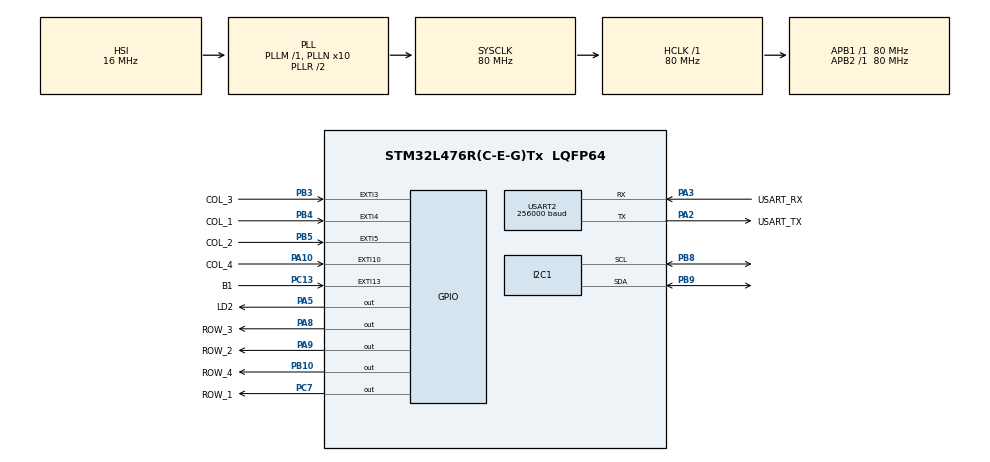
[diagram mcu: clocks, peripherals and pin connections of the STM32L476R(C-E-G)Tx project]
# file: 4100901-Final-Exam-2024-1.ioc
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I2C1.Timing=0x10909CEC
Mcu.Family=STM32L4
Mcu.Name=STM32L476R(C-E-G)Tx
Mcu.Package=LQFP64
NVIC.EXTI15_10_IRQn=true\:0\:0\:false\:false\:true\:true\:true\:true
NVIC.EXTI3_IRQn=true\:0\:0\:false\:false\:true\:true\:true\:true
NVIC.EXTI4_IRQn=true\:0\:0\:false\:false\:true\:true\:true\:true
NVIC.EXTI9_5_IRQn=true\:0\:0\:false\:false\:true\:true\:true\:true
NVIC.PriorityGroup=NVIC_PRIORITYGROUP_4
NVIC.USART2_IRQn=true\:0\:0\:false\:false\:true\:true\:true\:true
PA10.GPIO_Label=COL_4
PA10.GPIO_ModeDefaultEXTI=GPIO_MODE_IT_RISING
PA10.GPIO_PuPd=GPIO_PULLDOWN
PA10.Signal=GPXTI10
PA13\ (JTMS-SWDIO).GPIO_Label=TMS
PA13\ (JTMS-SWDIO).Mode=Serial_Wire
PA13\ (JTMS-SWDIO).Signal=SYS_JTMS-SWDIO
PA14\ (JTCK-SWCLK).GPIO_Label=TCK
PA14\ (JTCK-SWCLK).Mode=Serial_Wire
PA14\ (JTCK-SWCLK).Signal=SYS_JTCK-SWCLK
PA2.GPIO_Label=USART_TX
PA2.GPIO_Mode=GPIO_MODE_AF_PP
PA2.GPIO_PuPd=GPIO_NOPULL
PA2.GPIO_Speed=GPIO_SPEED_FREQ_VERY_HIGH
PA2.Mode=Asynchronous
PA2.Signal=USART2_TX
PA3.GPIO_Label=USART_RX
PA3.GPIO_Mode=GPIO_MODE_AF_PP
PA3.GPIO_PuPd=GPIO_NOPULL
PA3.GPIO_Speed=GPIO_SPEED_FREQ_VERY_HIGH
PA3.Mode=Asynchronous
PA3.Signal=USART2_RX
PA5.GPIO_Label=LD2 
PA5.GPIO_ModeDefaultOutputPP=GPIO_MODE_OUTPUT_PP
PA5.GPIO_PuPd=GPIO_NOPULL
PA5.GPIO_Speed=GPIO_SPEED_FREQ_LOW
PA5.Signal=GPIO_Output
PA8.GPIO_Label=ROW_3
PA8.GPIO_Speed=GPIO_SPEED_FREQ_VERY_HIGH
PA8.PinState=GPIO_PIN_SET
PA8.Signal=GPIO_Output
PA9.GPIO_Label=ROW_2
PA9.GPIO_Speed=GPIO_SPEED_FREQ_VERY_HIGH
PA9.PinState=GPIO_PIN_SET
PA9.Signal=GPIO_Output
PB10.GPIO_Label=ROW_4
PB10.GPIO_Speed=GPIO_SPEED_FREQ_VERY_HIGH
PB10.PinState=GPIO_PIN_SET
PB10.Signal=GPIO_Output
PB3\ (JTDO-TRACESWO).GPIO_Label=COL_3
PB3\ (JTDO-TRACESWO).GPIO_ModeDefaultEXTI=GPIO_MODE_IT_RISING
PB3\ (JTDO-TRACESWO).GPIO_PuPd=GPIO_PULLDOWN
PB3\ (JTDO-TRACESWO).Signal=GPXTI3
PB4\ (NJTRST).GPIO_Label=COL_1
PB4\ (NJTRST).GPIO_ModeDefaultEXTI=GPIO_MODE_IT_RISING
PB4\ (NJTRST).GPIO_PuPd=GPIO_PULLDOWN
PB4\ (NJTRST).Signal=GPXTI4
PB5.GPIO_Label=COL_2
PB5.GPIO_ModeDefaultEXTI=GPIO_MODE_IT_RISING
PB5.GPIO_PuPd=GPIO_PULLDOWN
PB5.Signal=GPXTI5
PB8.Mode=I2C
PB8.Signal=I2C1_SCL
PB9.Mode=I2C
PB9.Signal=I2C1_SDA
PC13.GPIO_Label=B1
PC13.GPIO_ModeDefaultEXTI=GPIO_MODE_IT_FALLING
PC13.GPIO_PuPd=GPIO_NOPULL
PC13.Signal=GPXTI13
PC14-OSC32_IN\ (PC14).Mode=LSE-External-Oscillator
PC14-OSC32_IN\ (PC14).Signal=RCC_OSC32_IN
PC15-OSC32_OUT\ (PC15).Mode=LSE-External-Oscillator
PC15-OSC32_OUT\ (PC15).Signal=RCC_OSC32_OUT
PC7.GPIO_Label=ROW_1
PC7.GPIO_Speed=GPIO_SPEED_FREQ_VERY_HIGH
PC7.PinState=GPIO_PIN_SET
PC7.Signal=GPIO_Output
PH0-OSC_IN\ (PH0).Signal=RCC_OSC_IN
PH1-OSC_OUT\ (PH1).Signal=RCC_OSC_OUT
ProjectManager.HeapSize=0x200
ProjectManager.StackSize=0x400
ProjectManager.TargetToolchain=STM32CubeIDE
RCC.ADCFreq_Value=64000000
RCC.AHBFreq_Value=80000000
RCC.APB1Freq_Value=80000000
RCC.APB1TimFreq_Value=80000000
RCC.APB2Freq_Value=80000000
RCC.APB2TimFreq_Value=80000000
RCC.CortexFreq_Value=80000000
RCC.HCLKFreq_Value=80000000
RCC.HSE_VALUE=8000000
RCC.HSI_VALUE=16000000
RCC.MSI_VALUE=4000000
RCC.PLLN=10
RCC.PLLSourceVirtual=RCC_PLLSOURCE_HSI
RCC.PREFETCH_ENABLE=1
RCC.SYSCLKFreq_VALUE=80000000
RCC.SYSCLKSource=RCC_SYSCLKSOURCE_PLLCLK
RCC.USBFreq_Value=64000000
RCC.VCOOutputFreq_Value=160000000
USART2.BaudRate=256000
USART2.VirtualMode-Asynchronous=VM_ASYNC
board=NUCLEO-L476RG

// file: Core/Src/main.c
/* USER CODE BEGIN Header */
/**
  ******************************************************************************
  * @file           : main.c
  * @brief          : Main program body
  ******************************************************************************
  * @attention
  *
  * Copyright (c) 2024 STMicroelectronics.
  * All rights reserved.
  *
  * This software is licensed under terms that can be found in the LICENSE file
  * in the root directory of this software component.
  * If no LICENSE file comes with this software, it is provided AS-IS.
  *
  ******************************************************************************
  */
/* USER CODE END Header */
#include "main.h"

/* USER CODE BEGIN Includes */

#include <stdio.h>

#include "led_estatus.h"
#include "keypad.h"
#include "ring_buffer.h"
#include "val_clave.h"

/* USER CODE END Includes */

I2C_HandleTypeDef hi2c1;

UART_HandleTypeDef huart2;

/* USER CODE BEGIN PV */
uint8_t valor_usart = 0;
uint8_t tamano_aritmetica = 0;
uint8_t valor_hexadecimal_0 = 0;
uint8_t valor_hexadecimal_1 = 0;
uint8_t valor_hexadecimal_2 = 0;
uint8_t valor_hexadecimal_3 = 0;
uint8_t valor_hexadecimal = 0;
char buffer_uart[7];  // 6 dígitos + terminador nulo
uint8_t resultado_suma = 0;
uint8_t presion_boton = 0;

uint8_t var_control = 0;
uint32_t tiempo_led = 0;
flag_enum presion_teclado = NO_PRESION;
uint16_t tecla_presionada;
uint8_t clave[TAM_CLAVE];
ring_buffer_t ring_clave;
ring_buffer_t ring_aritmetica;
uint8_t buffer_pantalla[TAM_CLAVE];
uint8_t validacion_clave = 30;
uint8_t pantalla_x = 20;
uint8_t pantalla_y = 10;
uint8_t ultimos_digitos[4];
/* USER CODE END PV */

void SystemClock_Config(void);
static void MX_GPIO_Init(void);
static void MX_USART2_UART_Init(void);
static void MX_I2C1_Init(void);
/* USER CODE BEGIN PFP */

void recibir_valor_uart(void) {
    HAL_UART_Receive(&huart2, (uint8_t*)buffer_uart, 6, HAL_MAX_DELAY);
    buffer_uart[6] = '\0';  // Asegurar que el string esté correctamente terminado
    printf("Valor recibido por UART: %s\r\n", buffer_uart);
}
void reset_uart_buffer(void) {
    for (int i = 0; i < 6; i++) {
        buffer_uart[i] = '\0';  // Reinicia todos los valores del buffer
    }
    printf("Buffer UART reseteado\r\n");
}

/* USER CODE END PFP */

/* USER CODE BEGIN 0 */
//int _write(int file, char *ptr, int len)
//{
//  // to using printf
//  HAL_UART_Transmit(&huart2, (uint8_t *)ptr, len, 10);
//  return len;
//}

void HAL_GPIO_EXTI_Callback(uint16_t GPIO_Pin)
{
	uint8_t key_pressed = keypad_scan(GPIO_Pin);
	if (key_pressed != 0xFF) { //Aquí evitamos el rebote y modificamos las variables necesarias
		printf("Se presionó: %c\r\n", key_pressed);
		tecla_presionada = key_pressed;
		presion_teclado = PRESION;
		return;
	}
	if(GPIO_Pin == B1_Pin){ //Realizamos la condición para cuando se genere la interrupción por el botón azul
							//se sumen los dos valores
		resultado_suma = valor_hexadecimal + valor_usart;
		presion_boton = 1;
	}

}
/* USER CODE END 0 */

int main(void)
{

  /* MCU Configuration--------------------------------------------------------*/

  /* Reset of all peripherals, Initializes the Flash interface and the Systick. */
  HAL_Init();

  /* Configure the system clock */
  SystemClock_Config();

  /* Initialize all configured peripherals */
  MX_GPIO_Init();
  MX_USART2_UART_Init();
  MX_I2C1_Init();
  /* USER CODE BEGIN 2 */
//  if (resultado_suma % 2 == 0) {
//      HAL_GPIO_WritePin(SYSTEM_LED_GPIO_Port, SYSTEM_LED_Pin, GPIO_PIN_RESET);  // Encender LED
//  } else {
//      HAL_GPIO_WritePin(SYSTEM_LED_GPIO_Port, SYSTEM_LED_Pin, GPIO_PIN_SET);  // Apagar LED
//  }
//
  //
//  ring_buffer_init(&ring_clave, clave, TAM_CLAVE);
//  ssd1306_Init();
//ssd1306_Fill(Black);
//ssd1306_SetCursor(30, 30);
//ssd1306_WriteString("Welcome!", Font_7x10, White);
//ssd1306_UpdateScreen();
  /* USER CODE END 2 */

  /* Infinite loop */
  /* USER CODE BEGIN WHILE */
  printf("Starting...\r\n");
  while (1)
  {
    /* USER CODE END WHILE */

    /* USER CODE BEGIN 3 */
	  valor_usart = recibir_valor_uart();

//Vamos a realizar el condicional para que el teclado reciba hasta 4 digitos
	  if(presion_teclado == PRESION && tecla_presionada != '#' && tecla_presionada != '*' && tecla_presionada != 'A' && tecla_presionada != 'B'&& tecla_presionada != 'C'&& tecla_presionada != 'D' ){
		  presion_teclado = NO_PRESION;
		  ring_buffer_write(&ring_aritmetica, tecla_presionada);
		  tamano_aritmetica = ring_buffer_size(&ring_aritmetica);

		  for(uint8_t i = 0; i < tamano_aritmetica ; i++){
			  ultimo_digito[i] = tecla_presionada;
		  }
		  valor_hexadecimal_0 = ultimo_digito[0] * 1000 ;//Multiplicamos cada valor por el número correspondiente
		  valor_hexadecimal_1 = ultimo_digito[1] * 100 ; //dependiendo de la posición de cada uno
		  valor_hexadecimal_2 = ultimo_digito[2] * 10 ;
		  valor_hexadecimal_3 = ultimo_digito[3] * 1 ;
		  valor_hexadecimal = valor_hexadecimal_0 + valor_hexadecimal_1 + valor_hexadecimal_2 + valor_hexadecimal_3;
//		  buffer_pantalla[var_control] = tecla_presionada;
//		  var_control ++;

	  } else if(presion_teclado == PRESION && tecla_presionada == '*'){
		  presion_teclado = NO_PRESION;
//		  ring_buffer_reset(&ring_aritmetica);

		  valor_hexadecimal = 0;

//		  for(uint8_t i = 0; i <= var_control; i++ ){
//			  buffer_pantalla[i] = 0;
//		  }
//		  memset(&buffer_pantalla, 0, TAM_CLAVE);
//		  var_control = 0;
//
//		  ssd1306_Fill(Black);
//		  ssd1306_UpdateScreen();

	  } else if(presion_teclado == PRESION && tecla_presionada == '#'){ //Vamos a utilizar la tecla "#" para indicar
		  presion_teclado = NO_PRESION;

		  reset_usart_buffer(valor_usart);
		  //que se envíe los datos
//		  validacion_clave = validar_clave(&ring_aritmetica);
//		  ring_buffer_reset(&ring_clave);
//		  printf("Validacion: %d\r\n", validacion_clave);

	  }

	  //Creamos los condicionales para cuando se presione el numeral, encienda 3000 ms el led (diferentes Frec.)
//	  if(tecla_presionada == '#'){
//		  tiempo_led = HAL_GetTick() + 3000;
//		  tecla_presionada = 0xFF;
//	  }
//	  if( HAL_GetTick() < tiempo_led){
//		  estatus_hz(validacion_clave); //Utilizamos la función estatus_hz de la librería "led_estatus"
//	  }else{  	  	  	  	 //que sirve para indicar la frencuencia de encendido del led.
//		  HAL_GPIO_WritePin(SYSTEM_LED_GPIO_Port, SYSTEM_LED_Pin, 1);
//	  }
	  if(presion_boton == 1){ //Realizamos el condicional para cuando se presione el botón azul, se imprima en
		  ssd1306_Fill(Black);//la pantalla y también en el PC
		  ssd1306_SetCursor(20, 10);
		  ssd1306_WriteString(&resultado_suma, Font_7x10, White);
		  ssd1306_UpdateScreen();
		  presion_boton = 0;
		  printf("Se presionó: %d\r\n", resultado_suma);
	  }

	         // Chequeo de paridad y control del LED
	         if (resultado_suma % 2 == 0) {
	             HAL_GPIO_WritePin(SYSTEM_LED_GPIO_Port, SYSTEM_LED_Pin, GPIO_PIN_RESET);  // Encender LED
	         } else {
	             HAL_GPIO_WritePin(SYSTEM_LED_GPIO_Port, SYSTEM_LED_Pin, GPIO_PIN_SET);  // Apagar LED
	         }
	     }

	     //Condicionales para cuando se presione el numeral, encienda 3000 ms el led (diferentes Frec.)
//	     if (tecla_presionada == '#'){
//	         tiempo_led = HAL_GetTick() + 3000;
//	         tecla_presionada = 0xFF;
//	     }
//	     if (HAL_GetTick() < tiempo_led){
//	         estatus_hz(validacion_clave); //Utilizamos la función estatus_hz de la librería "led_estatus"
//	     } else {  	  	  	  	  	 //que sirve para indicar la frencuencia de encendido del led.
//	         HAL_GPIO_WritePin(SYSTEM_LED_GPIO_Port, SYSTEM_LED_Pin, 1);
//	     }
	 }

  }

  /* USER CODE END 3 */
}

void SystemClock_Config(void)
{
  RCC_OscInitTypeDef RCC_OscInitStruct = {0};
  RCC_ClkInitTypeDef RCC_ClkInitStruct = {0};

  /** Configure the main internal regulator output voltage
  */
  if (HAL_PWREx_ControlVoltageScaling(PWR_REGULATOR_VOLTAGE_SCALE1) != HAL_OK)
  {
    Error_Handler();
  }

  /** Initializes the RCC Oscillators according to the specified parameters
  * in the RCC_OscInitTypeDef structure.
  */
  RCC_OscInitStruct.OscillatorType = RCC_OSCILLATORTYPE_HSI;
  RCC_OscInitStruct.HSIState = RCC_HSI_ON;
  RCC_OscInitStruct.HSICalibrationValue = RCC_HSICALIBRATION_DEFAULT;
  RCC_OscInitStruct.PLL.PLLState = RCC_PLL_ON;
  RCC_OscInitStruct.PLL.PLLSource = RCC_PLLSOURCE_HSI;
  RCC_OscInitStruct.PLL.PLLM = 1;
  RCC_OscInitStruct.PLL.PLLN = 10;
  RCC_OscInitStruct.PLL.PLLP = RCC_PLLP_DIV7;
  RCC_OscInitStruct.PLL.PLLQ = RCC_PLLQ_DIV2;
  RCC_OscInitStruct.PLL.PLLR = RCC_PLLR_DIV2;
  if (HAL_RCC_OscConfig(&RCC_OscInitStruct) != HAL_OK)
  {
    Error_Handler();
  }

  /** Initializes the CPU, AHB and APB buses clocks
  */
  RCC_ClkInitStruct.ClockType = RCC_CLOCKTYPE_HCLK|RCC_CLOCKTYPE_SYSCLK
                              |RCC_CLOCKTYPE_PCLK1|RCC_CLOCKTYPE_PCLK2;
  RCC_ClkInitStruct.SYSCLKSource = RCC_SYSCLKSOURCE_PLLCLK;
  RCC_ClkInitStruct.AHBCLKDivider = RCC_SYSCLK_DIV1;
  RCC_ClkInitStruct.APB1CLKDivider = RCC_HCLK_DIV1;
  RCC_ClkInitStruct.APB2CLKDivider = RCC_HCLK_DIV1;

  if (HAL_RCC_ClockConfig(&RCC_ClkInitStruct, FLASH_LATENCY_4) != HAL_OK)
  {
    Error_Handler();
  }
}

static void MX_I2C1_Init(void)
{

  hi2c1.Instance = I2C1;
  hi2c1.Init.Timing = 0x10909CEC;
  hi2c1.Init.OwnAddress1 = 0;
  hi2c1.Init.AddressingMode = I2C_ADDRESSINGMODE_7BIT;
  hi2c1.Init.DualAddressMode = I2C_DUALADDRESS_DISABLE;
  hi2c1.Init.OwnAddress2 = 0;
  hi2c1.Init.OwnAddress2Masks = I2C_OA2_NOMASK;
  hi2c1.Init.GeneralCallMode = I2C_GENERALCALL_DISABLE;
  hi2c1.Init.NoStretchMode = I2C_NOSTRETCH_DISABLE;
  if (HAL_I2C_Init(&hi2c1) != HAL_OK)
  {
    Error_Handler();
  }

  /** Configure Analogue filter
  */
  if (HAL_I2CEx_ConfigAnalogFilter(&hi2c1, I2C_ANALOGFILTER_ENABLE) != HAL_OK)
  {
    Error_Handler();
  }

  /** Configure Digital filter
  */
  if (HAL_I2CEx_ConfigDigitalFilter(&hi2c1, 0) != HAL_OK)
  {
    Error_Handler();
  }

}

static void MX_USART2_UART_Init(void)
{

  huart2.Instance = USART2;
  huart2.Init.BaudRate = 256000;
  huart2.Init.WordLength = UART_WORDLENGTH_8B;
  huart2.Init.StopBits = UART_STOPBITS_1;
  huart2.Init.Parity = UART_PARITY_NONE;
  huart2.Init.Mode = UART_MODE_TX_RX;
  huart2.Init.HwFlowCtl = UART_HWCONTROL_NONE;
  huart2.Init.OverSampling = UART_OVERSAMPLING_16;
  huart2.Init.OneBitSampling = UART_ONE_BIT_SAMPLE_DISABLE;
  huart2.AdvancedInit.AdvFeatureInit = UART_ADVFEATURE_NO_INIT;
  if (HAL_UART_Init(&huart2) != HAL_OK)
  {
    Error_Handler();
  }

}

static void MX_GPIO_Init(void)
{
  GPIO_InitTypeDef GPIO_InitStruct = {0};

  /* GPIO Ports Clock Enable */
  __HAL_RCC_GPIOC_CLK_ENABLE();
  __HAL_RCC_GPIOH_CLK_ENABLE();
  __HAL_RCC_GPIOA_CLK_ENABLE();
  __HAL_RCC_GPIOB_CLK_ENABLE();

  /*Configure GPIO pin Output Level */
  HAL_GPIO_WritePin(LD2_GPIO_Port, LD2_Pin, GPIO_PIN_RESET);

  /*Configure GPIO pin Output Level */
  HAL_GPIO_WritePin(ROW_4_GPIO_Port, ROW_4_Pin, GPIO_PIN_SET);

  /*Configure GPIO pin Output Level */
  HAL_GPIO_WritePin(ROW_1_GPIO_Port, ROW_1_Pin, GPIO_PIN_SET);

  /*Configure GPIO pin Output Level */
  HAL_GPIO_WritePin(GPIOA, ROW_3_Pin|ROW_2_Pin, GPIO_PIN_SET);

  /*Configure GPIO pin : B1_Pin */
  GPIO_InitStruct.Pin = B1_Pin;
  GPIO_InitStruct.Mode = GPIO_MODE_IT_FALLING;
  GPIO_InitStruct.Pull = GPIO_NOPULL;
  HAL_GPIO_Init(B1_GPIO_Port, &GPIO_InitStruct);

  /*Configure GPIO pin : LD2_Pin */
  GPIO_InitStruct.Pin = LD2_Pin;
  GPIO_InitStruct.Mode = GPIO_MODE_OUTPUT_PP;
  GPIO_InitStruct.Pull = GPIO_NOPULL;
  GPIO_InitStruct.Speed = GPIO_SPEED_FREQ_LOW;
  HAL_GPIO_Init(LD2_GPIO_Port, &GPIO_InitStruct);

  /*Configure GPIO pin : ROW_4_Pin */
  GPIO_InitStruct.Pin = ROW_4_Pin;
  GPIO_InitStruct.Mode = GPIO_MODE_OUTPUT_PP;
  GPIO_InitStruct.Pull = GPIO_NOPULL;
  GPIO_InitStruct.Speed = GPIO_SPEED_FREQ_VERY_HIGH;
  HAL_GPIO_Init(ROW_4_GPIO_Port, &GPIO_InitStruct);

  /*Configure GPIO pin : ROW_1_Pin */
  GPIO_InitStruct.Pin = ROW_1_Pin;
  GPIO_InitStruct.Mode = GPIO_MODE_OUTPUT_PP;
  GPIO_InitStruct.Pull = GPIO_NOPULL;
  GPIO_InitStruct.Speed = GPIO_SPEED_FREQ_VERY_HIGH;
  HAL_GPIO_Init(ROW_1_GPIO_Port, &GPIO_InitStruct);

  /*Configure GPIO pins : ROW_3_Pin ROW_2_Pin */
  GPIO_InitStruct.Pin = ROW_3_Pin|ROW_2_Pin;
  GPIO_InitStruct.Mode = GPIO_MODE_OUTPUT_PP;
  GPIO_InitStruct.Pull = GPIO_NOPULL;
  GPIO_InitStruct.Speed = GPIO_SPEED_FREQ_VERY_HIGH;
  HAL_GPIO_Init(GPIOA, &GPIO_InitStruct);

  /*Configure GPIO pin : COL_4_Pin */
  GPIO_InitStruct.Pin = COL_4_Pin;
  GPIO_InitStruct.Mode = GPIO_MODE_IT_RISING;
  GPIO_InitStruct.Pull = GPIO_PULLDOWN;
  HAL_GPIO_Init(COL_4_GPIO_Port, &GPIO_InitStruct);

  /*Configure GPIO pins : COL_3_Pin COL_1_Pin COL_2_Pin */
  GPIO_InitStruct.Pin = COL_3_Pin|COL_1_Pin|COL_2_Pin;
  GPIO_InitStruct.Mode = GPIO_MODE_IT_RISING;
  GPIO_InitStruct.Pull = GPIO_PULLDOWN;
  HAL_GPIO_Init(GPIOB, &GPIO_InitStruct);

  /* EXTI interrupt init*/
  HAL_NVIC_SetPriority(EXTI3_IRQn, 0, 0);
  HAL_NVIC_EnableIRQ(EXTI3_IRQn);

  HAL_NVIC_SetPriority(EXTI4_IRQn, 0, 0);
  HAL_NVIC_EnableIRQ(EXTI4_IRQn);

  HAL_NVIC_SetPriority(EXTI9_5_IRQn, 0, 0);
  HAL_NVIC_EnableIRQ(EXTI9_5_IRQn);

  HAL_NVIC_SetPriority(EXTI15_10_IRQn, 0, 0);
  HAL_NVIC_EnableIRQ(EXTI15_10_IRQn);

}

void Error_Handler(void)
{
  __disable_irq();
  while (1)
  {
  }
}
